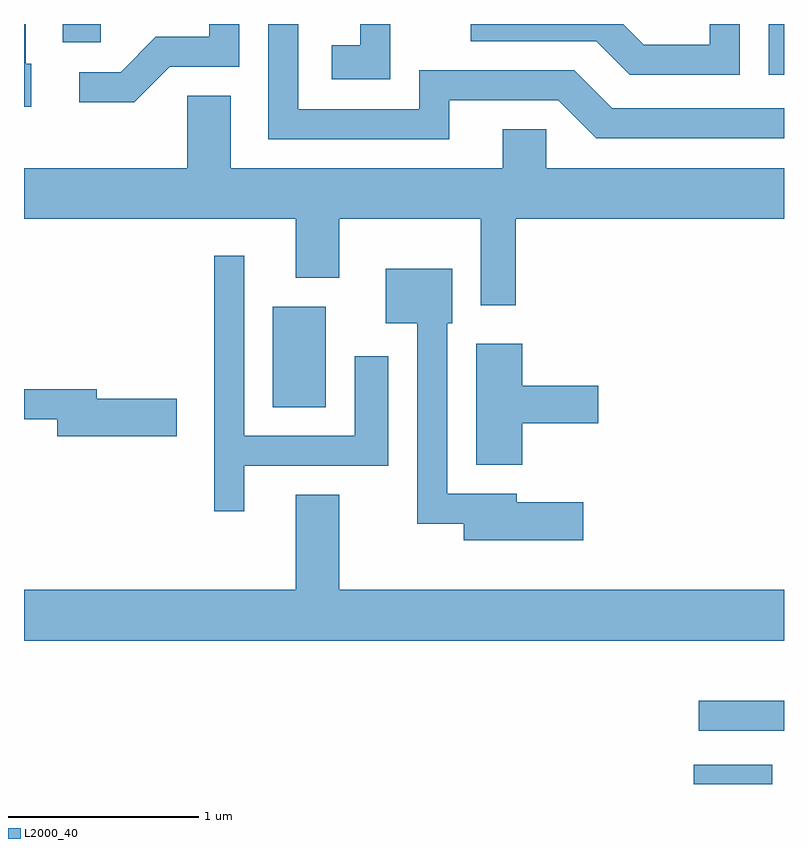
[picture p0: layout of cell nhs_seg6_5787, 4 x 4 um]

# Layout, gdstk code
import gdstk
lib = gdstk.Library(unit=1e-6, precision=1e-09)
def R(c, l, rs):  # rectangles x0, y0, x1, y1
    for r in rs: c.add(gdstk.rectangle(r[:2], r[2:], *l))
def P(c, l, *ps):  # polygons
    for p in ps: c.add(gdstk.Polygon(p, *l))
L2000_40 = (2000, 40)

nhs_seg6_5787 = lib.new_cell('nhs_seg6_5787')
R(nhs_seg6_5787, L2000_40, [(365.136,1558.162,365.549,1558.264), (365.163,1558.441,365.611,1558.599), (362.921,1560.146,363.199,1560.674), (365.531,1561.896,365.611,1562.162), (361.816,1562.066,362.014,1562.162)])
P(nhs_seg6_5787, L2000_40, [(362.377,1561.936),(362.744,1561.936),(362.744,1562.162),(362.586,1562.162),(362.586,1562.094),(362.304,1562.094),(362.119,1561.909),(361.903,1561.909),(361.903,1561.751),(362.192,1561.751)],
  [(363.539,1562.162),(363.381,1562.162),(363.381,1562.049),(363.231,1562.049),(363.231,1561.871),(363.539,1561.871)],
  [(363.849,1561.761),(364.424,1561.761),(364.624,1561.561),(365.611,1561.561),(365.611,1561.719),(364.707,1561.719),(364.507,1561.919),(363.691,1561.919),(363.691,1561.714),(363.054,1561.714),(363.054,1562.162),(362.896,1562.162),(362.896,1561.556),(363.849,1561.556)],
  [(365.379,1562.162),(365.221,1562.162),(365.221,1562.054),(364.872,1562.054),(364.764,1562.162),(363.961,1562.162),(363.961,1562.071),(364.624,1562.071),(364.799,1561.896),(365.379,1561.896)],
  [(361.649,1561.954),(361.619,1561.954),(361.619,1562.162),(361.611,1562.162),(361.611,1561.726),(361.649,1561.726)],
  [(364.199,1561.136),(365.611,1561.136),(365.611,1561.404),(364.359,1561.404),(364.359,1561.609),(364.131,1561.609),(364.131,1561.404),(362.699,1561.404),(362.699,1561.784),(362.471,1561.784),(362.471,1561.404),(361.611,1561.404),(361.611,1561.136),(363.041,1561.136),(363.041,1560.826),(363.269,1560.826),(363.269,1561.136),(364.016,1561.136),(364.016,1560.681),(364.199,1560.681)],
  [(362.769,1559.836),(363.529,1559.836),(363.529,1560.414),(363.351,1560.414),(363.351,1559.994),(362.769,1559.994),(362.769,1560.943),(362.611,1560.943),(362.611,1559.598),(362.769,1559.598)],
  [(364.554,1559.644),(364.204,1559.644),(364.204,1559.689),(363.839,1559.689),(363.839,1560.586),(363.864,1560.586),(363.864,1560.874),(363.516,1560.874),(363.516,1560.586),(363.681,1560.586),(363.681,1559.531),(363.926,1559.531),(363.926,1559.446),(364.554,1559.446)],
  [(364.234,1560.061),(364.634,1560.061),(364.634,1560.259),(364.234,1560.259),(364.234,1560.479),(363.991,1560.479),(363.991,1559.841),(364.234,1559.841)],
  [(362.414,1560.189),(361.994,1560.189),(361.994,1560.239),(361.611,1560.239),(361.611,1560.081),(361.786,1560.081),(361.786,1559.991),(362.414,1559.991)],
  [(365.611,1559.184),(363.269,1559.184),(363.269,1559.684),(363.041,1559.684),(363.041,1559.184),(361.611,1559.184),(361.611,1558.916),(365.611,1558.916)])

lib.write_gds('nhs_seg6_5787.gds')
